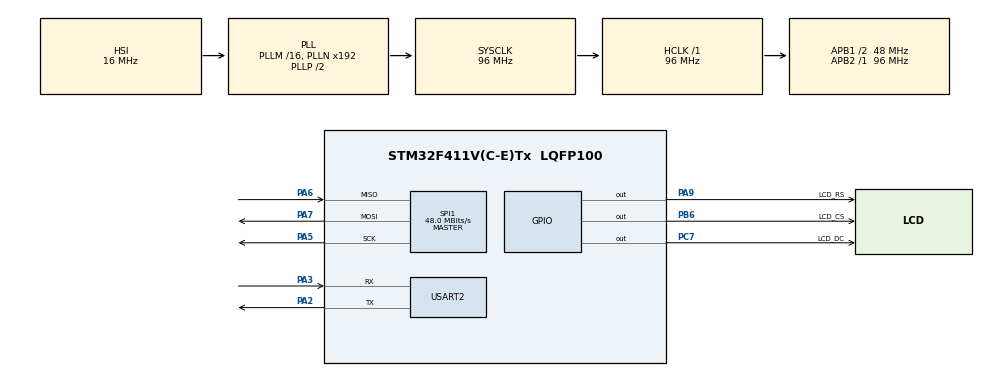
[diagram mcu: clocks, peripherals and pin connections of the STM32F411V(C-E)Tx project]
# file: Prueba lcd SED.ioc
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Mcu.Family=STM32F4
Mcu.Name=STM32F411V(C-E)Tx
Mcu.Package=LQFP100
NVIC.PriorityGroup=NVIC_PRIORITYGROUP_4
PA2.Mode=Asynchronous
PA2.Signal=USART2_TX
PA3.Mode=Asynchronous
PA3.Signal=USART2_RX
PA5.Mode=Full_Duplex_Master
PA5.Signal=SPI1_SCK
PA6.Mode=Full_Duplex_Master
PA6.Signal=SPI1_MISO
PA7.Mode=Full_Duplex_Master
PA7.Signal=SPI1_MOSI
PA9.GPIO_Label=LCD_RS
PA9.Signal=GPIO_Output
PB6.GPIO_Label=LCD_CS
PB6.Signal=GPIO_Output
PC7.GPIO_Label=LCD_DC
PC7.Signal=GPIO_Output
ProjectManager.HeapSize=0x200
ProjectManager.StackSize=0x400
ProjectManager.TargetToolchain=MDK-ARM V5
RCC.AHBFreq_Value=96000000
RCC.APB1CLKDivider=RCC_HCLK_DIV2
RCC.APB1Freq_Value=48000000
RCC.APB1TimFreq_Value=96000000
RCC.APB2Freq_Value=96000000
RCC.APB2TimFreq_Value=96000000
RCC.CortexFreq_Value=96000000
RCC.HCLKFreq_Value=96000000
RCC.HSE_VALUE=25000000
RCC.HSI_VALUE=16000000
RCC.LSE_VALUE=32768
RCC.SYSCLKFreq_VALUE=96000000
RCC.SYSCLKSource=RCC_SYSCLKSOURCE_PLLCLK
RCC.VCOOutputFreq_Value=192000000
SPI1.CalculateBaudRate=48.0 MBits/s
SPI1.Direction=SPI_DIRECTION_2LINES
SPI1.Mode=SPI_MODE_MASTER
SPI1.VirtualType=VM_MASTER
USART2.VirtualMode=VM_ASYNC
board=custom

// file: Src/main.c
/**
  ******************************************************************************
  * @file           : main.c
  * @brief          : Main program body
  ******************************************************************************
  ** This notice applies to any and all portions of this file
  * that are not between comment pairs USER CODE BEGIN and
  * USER CODE END. Other portions of this file, whether
  * inserted by the user or by software development tools
  * are owned by their respective copyright owners.
  *
  * COPYRIGHT(c) 2019 STMicroelectronics
  *
  * Redistribution and use in source and binary forms, with or without modification,
  * are permitted provided that the following conditions are met:
  *   1. Redistributions of source code must retain the above copyright notice,
  *      this list of conditions and the following disclaimer.
  *   2. Redistributions in binary form must reproduce the above copyright notice,
  *      this list of conditions and the following disclaimer in the documentation
  *      and/or other materials provided with the distribution.
  *   3. Neither the name of STMicroelectronics nor the names of its contributors
  *      may be used to endorse or promote products derived from this software
  *      without specific prior written permission.
  *
  * THIS SOFTWARE IS PROVIDED BY THE COPYRIGHT HOLDERS AND CONTRIBUTORS "AS IS"
  * AND ANY EXPRESS OR IMPLIED WARRANTIES, INCLUDING, BUT NOT LIMITED TO, THE
  * IMPLIED WARRANTIES OF MERCHANTABILITY AND FITNESS FOR A PARTICULAR PURPOSE ARE
  * DISCLAIMED. IN NO EVENT SHALL THE COPYRIGHT HOLDER OR CONTRIBUTORS BE LIABLE
  * FOR ANY DIRECT, INDIRECT, INCIDENTAL, SPECIAL, EXEMPLARY, OR CONSEQUENTIAL
  * DAMAGES (INCLUDING, BUT NOT LIMITED TO, PROCUREMENT OF SUBSTITUTE GOODS OR
  * SERVICES; LOSS OF USE, DATA, OR PROFITS; OR BUSINESS INTERRUPTION) HOWEVER
  * CAUSED AND ON ANY THEORY OF LIABILITY, WHETHER IN CONTRACT, STRICT LIABILITY,
  * OR TORT (INCLUDING NEGLIGENCE OR OTHERWISE) ARISING IN ANY WAY OUT OF THE USE
  * OF THIS SOFTWARE, EVEN IF ADVISED OF THE POSSIBILITY OF SUCH DAMAGE.
  *
  ******************************************************************************
  */
#include "main.h"
#include "stm32f4xx_hal.h"

/* USER CODE BEGIN Includes */
#include "MY_ILI9341.h"
/* USER CODE END Includes */

SPI_HandleTypeDef hspi1;

UART_HandleTypeDef huart2;

/* USER CODE BEGIN PV */
/* Private variables ---------------------------------------------------------*/

/* USER CODE END PV */

void SystemClock_Config(void);
static void MX_GPIO_Init(void);
static void MX_SPI1_Init(void);
static void MX_USART2_UART_Init(void);
void Dibujado_Pantalla(void);

/* USER CODE BEGIN PFP */
/* Private function prototypes -----------------------------------------------*/

/* USER CODE END PFP */

int main(void)
{

  /* MCU Configuration----------------------------------------------------------*/

  /* Reset of all peripherals, Initializes the Flash interface and the Systick. */
  HAL_Init();

  /* Configure the system clock */
  SystemClock_Config();

  /* Initialize all configured peripherals */
  MX_GPIO_Init();
  MX_SPI1_Init();
  MX_USART2_UART_Init();
  /* USER CODE BEGIN 2 */
	Dibujado_Pantalla();

//ILI9341_Fill(COLOR_NAVY);
//ILI9341_printText("Feliz 2019!!", 10, 100, COLOR_RED, COLOR_NAVY, 4); //texto, x_0, y_0, color texto, color fondo, tamaсo
////ILI9341_printText(char text[], int16_t x, int16_t y, uint16_t color, uint16_t bg, uint8_t size)
//ILI9341_printText("demigrante", 120, 150, COLOR_OLIVE, COLOR_NAVY, 2);
//ILI9341_printImage(0,0,200,97,"tala.bmp",1);
  /* USER CODE END 2 */
int a=0;
int b=0;
int c=0;
  /* Infinite loop */
  /* USER CODE BEGIN WHILE */
  while (1)
  {
HAL_Delay(100);

		a++;
		b++;
		ILI9341_drawChar(100,100,a,COLOR_WHITE,COLOR_BLACK,2);
	//	ILI9341_printText(("%i",a),100,120,COLOR_WHITE,COLOR_BLACK,2);
	//	ILI9341_printNumber(a,100,120,COLOR_WHITE,COLOR_BLACK,2); Funcion en libreria hecha por mi, no va bien

		if (b>=0 && b<11)
			c=b+47;
		else
			b=0;

		ILI9341_drawChar(100,120,c,COLOR_WHITE,COLOR_BLACK,2);

  /* USER CODE END WHILE */

  }

}

void SystemClock_Config(void)
{

  RCC_OscInitTypeDef RCC_OscInitStruct;
  RCC_ClkInitTypeDef RCC_ClkInitStruct;

    /**Configure the main internal regulator output voltage
    */
  __HAL_RCC_PWR_CLK_ENABLE();

  __HAL_PWR_VOLTAGESCALING_CONFIG(PWR_REGULATOR_VOLTAGE_SCALE1);

    /**Initializes the CPU, AHB and APB busses clocks
    */
  RCC_OscInitStruct.OscillatorType = RCC_OSCILLATORTYPE_HSI;
  RCC_OscInitStruct.HSIState = RCC_HSI_ON;
  RCC_OscInitStruct.HSICalibrationValue = 16;
  RCC_OscInitStruct.PLL.PLLState = RCC_PLL_ON;
  RCC_OscInitStruct.PLL.PLLSource = RCC_PLLSOURCE_HSI;
  RCC_OscInitStruct.PLL.PLLM = 16;
  RCC_OscInitStruct.PLL.PLLN = 192;
  RCC_OscInitStruct.PLL.PLLP = RCC_PLLP_DIV2;
  RCC_OscInitStruct.PLL.PLLQ = 4;
  if (HAL_RCC_OscConfig(&RCC_OscInitStruct) != HAL_OK)
  {
    _Error_Handler(__FILE__, __LINE__);
  }

    /**Initializes the CPU, AHB and APB busses clocks
    */
  RCC_ClkInitStruct.ClockType = RCC_CLOCKTYPE_HCLK|RCC_CLOCKTYPE_SYSCLK
                              |RCC_CLOCKTYPE_PCLK1|RCC_CLOCKTYPE_PCLK2;
  RCC_ClkInitStruct.SYSCLKSource = RCC_SYSCLKSOURCE_PLLCLK;
  RCC_ClkInitStruct.AHBCLKDivider = RCC_SYSCLK_DIV1;
  RCC_ClkInitStruct.APB1CLKDivider = RCC_HCLK_DIV2;
  RCC_ClkInitStruct.APB2CLKDivider = RCC_HCLK_DIV1;

  if (HAL_RCC_ClockConfig(&RCC_ClkInitStruct, FLASH_LATENCY_3) != HAL_OK)
  {
    _Error_Handler(__FILE__, __LINE__);
  }

    /**Configure the Systick interrupt time
    */
  HAL_SYSTICK_Config(HAL_RCC_GetHCLKFreq()/1000);

    /**Configure the Systick
    */
  HAL_SYSTICK_CLKSourceConfig(SYSTICK_CLKSOURCE_HCLK);

  /* SysTick_IRQn interrupt configuration */
  HAL_NVIC_SetPriority(SysTick_IRQn, 0, 0);
}

/* SPI1 init function */
static void MX_SPI1_Init(void)
{

  /* SPI1 parameter configuration*/
  hspi1.Instance = SPI1;
  hspi1.Init.Mode = SPI_MODE_MASTER;
  hspi1.Init.Direction = SPI_DIRECTION_2LINES;
  hspi1.Init.DataSize = SPI_DATASIZE_8BIT;
  hspi1.Init.CLKPolarity = SPI_POLARITY_LOW;
  hspi1.Init.CLKPhase = SPI_PHASE_1EDGE;
  hspi1.Init.NSS = SPI_NSS_SOFT;
  hspi1.Init.BaudRatePrescaler = SPI_BAUDRATEPRESCALER_2;
  hspi1.Init.FirstBit = SPI_FIRSTBIT_MSB;
  hspi1.Init.TIMode = SPI_TIMODE_DISABLE;
  hspi1.Init.CRCCalculation = SPI_CRCCALCULATION_DISABLE;
  hspi1.Init.CRCPolynomial = 10;
  if (HAL_SPI_Init(&hspi1) != HAL_OK)
  {
    _Error_Handler(__FILE__, __LINE__);
  }

}

/* USART2 init function */
static void MX_USART2_UART_Init(void)
{

  huart2.Instance = USART2;
  huart2.Init.BaudRate = 115200;
  huart2.Init.WordLength = UART_WORDLENGTH_8B;
  huart2.Init.StopBits = UART_STOPBITS_1;
  huart2.Init.Parity = UART_PARITY_NONE;
  huart2.Init.Mode = UART_MODE_TX_RX;
  huart2.Init.HwFlowCtl = UART_HWCONTROL_NONE;
  huart2.Init.OverSampling = UART_OVERSAMPLING_16;
  if (HAL_UART_Init(&huart2) != HAL_OK)
  {
    _Error_Handler(__FILE__, __LINE__);
  }

}

/** Configure pins as
        * Analog
        * Input
        * Output
        * EVENT_OUT
        * EXTI
*/
static void MX_GPIO_Init(void)
{

  GPIO_InitTypeDef GPIO_InitStruct;

  /* GPIO Ports Clock Enable */
  __HAL_RCC_GPIOA_CLK_ENABLE();
  __HAL_RCC_GPIOC_CLK_ENABLE();
  __HAL_RCC_GPIOB_CLK_ENABLE();

  /*Configure GPIO pin Output Level */
  HAL_GPIO_WritePin(LCD_DC_GPIO_Port, LCD_DC_Pin, GPIO_PIN_RESET);

  /*Configure GPIO pin Output Level */
  HAL_GPIO_WritePin(LCD_RS_GPIO_Port, LCD_RS_Pin, GPIO_PIN_RESET);

  /*Configure GPIO pin Output Level */
  HAL_GPIO_WritePin(LCD_CS_GPIO_Port, LCD_CS_Pin, GPIO_PIN_RESET);

  /*Configure GPIO pin : LCD_DC_Pin */
  GPIO_InitStruct.Pin = LCD_DC_Pin;
  GPIO_InitStruct.Mode = GPIO_MODE_OUTPUT_PP;
  GPIO_InitStruct.Pull = GPIO_NOPULL;
  GPIO_InitStruct.Speed = GPIO_SPEED_FREQ_LOW;
  HAL_GPIO_Init(LCD_DC_GPIO_Port, &GPIO_InitStruct);

  /*Configure GPIO pin : LCD_RS_Pin */
  GPIO_InitStruct.Pin = LCD_RS_Pin;
  GPIO_InitStruct.Mode = GPIO_MODE_OUTPUT_PP;
  GPIO_InitStruct.Pull = GPIO_NOPULL;
  GPIO_InitStruct.Speed = GPIO_SPEED_FREQ_LOW;
  HAL_GPIO_Init(LCD_RS_GPIO_Port, &GPIO_InitStruct);

  /*Configure GPIO pin : LCD_CS_Pin */
  GPIO_InitStruct.Pin = LCD_CS_Pin;
  GPIO_InitStruct.Mode = GPIO_MODE_OUTPUT_PP;
  GPIO_InitStruct.Pull = GPIO_NOPULL;
  GPIO_InitStruct.Speed = GPIO_SPEED_FREQ_LOW;
  HAL_GPIO_Init(LCD_CS_GPIO_Port, &GPIO_InitStruct);

}

/* USER CODE BEGIN 4 */
void Dibujado_Pantalla()
{
	//INICIACION PANTALLA
ILI9341_Init(&hspi1, LCD_CS_GPIO_Port, LCD_CS_Pin, LCD_DC_GPIO_Port, LCD_DC_Pin, LCD_RS_GPIO_Port, LCD_RS_Pin);
ILI9341_setRotation(2);

//DIBUJADO INTERFACE PANTALLA
ILI9341_Fill(COLOR_BLACK);
ILI9341_Fill_Rect(0,0,320,40,COLOR_ORANGE);
ILI9341_Fill_Rect(0,210,320,240,COLOR_DGRAY);
ILI9341_drawFastHLine(0,0,320,COLOR_BLUE);
ILI9341_drawFastHLine(0,240,320,COLOR_BLUE);
ILI9341_drawFastHLine(0,210,320,COLOR_BLUE);
ILI9341_drawFastHLine(0,40,320,COLOR_BLUE);
ILI9341_drawFastVLine(0,0,240,COLOR_BLUE);
ILI9341_drawFastVLine(320,0,240,COLOR_BLUE);
ILI9341_printText("Sistema Domotico de Iluminacion",70,18,COLOR_GREENYELLOW,COLOR_ORANGE,1);
ILI9341_printText("Sistemas Electronicos Digitales ",10,222,COLOR_YELLOW,COLOR_DGRAY,1);
ILI9341_printText("Christopher Enga ",210,215,COLOR_YELLOW,COLOR_DGRAY,1);
ILI9341_printText("Enrique Mateos",215,228,COLOR_YELLOW,COLOR_DGRAY,1);
ILI9341_fillCircle(30,20,15,COLOR_BLUE);
ILI9341_fillCircle(290,20,15,COLOR_BLUE);
ILI9341_fillCircle(30,20,7,COLOR_YELLOW);
ILI9341_fillCircle(290,20,7,COLOR_YELLOW);
ILI9341_printText("Funciones",20,60,COLOR_WHITE,COLOR_BLACK,1);
ILI9341_printText("Funciones",20,90,COLOR_WHITE,COLOR_BLACK,1);
ILI9341_printText("Funciones",20,120,COLOR_WHITE,COLOR_BLACK,1);
ILI9341_printText("Funciones",20,150,COLOR_WHITE,COLOR_BLACK,1);
ILI9341_printText("Funciones",20,180,COLOR_WHITE,COLOR_BLACK,1);

ILI9341_printText("ON",190,50,COLOR_WHITE,COLOR_BLACK,1);
ILI9341_printText("OFF",258,50,COLOR_WHITE,COLOR_BLACK,1);
ILI9341_Fill_Rect(250,60,280,70,COLOR_RED);
ILI9341_Fill_Rect(180,60,210,70,COLOR_GREEN);
ILI9341_Fill_Rect(250,90,280,100,COLOR_RED);
ILI9341_Fill_Rect(180,90,210,100,COLOR_GREEN);
ILI9341_Fill_Rect(250,120,280,130,COLOR_RED);
ILI9341_Fill_Rect(180,120,210,130,COLOR_GREEN);
ILI9341_Fill_Rect(250,150,280,160,COLOR_RED);
ILI9341_Fill_Rect(180,150,210,160,COLOR_GREEN);
}

/* USER CODE END 4 */

void _Error_Handler(char *file, int line)
{
  while(1)
  {
  }
}

/************************ (C) COPYRIGHT STMicroelectronics *****END OF FILE****/
